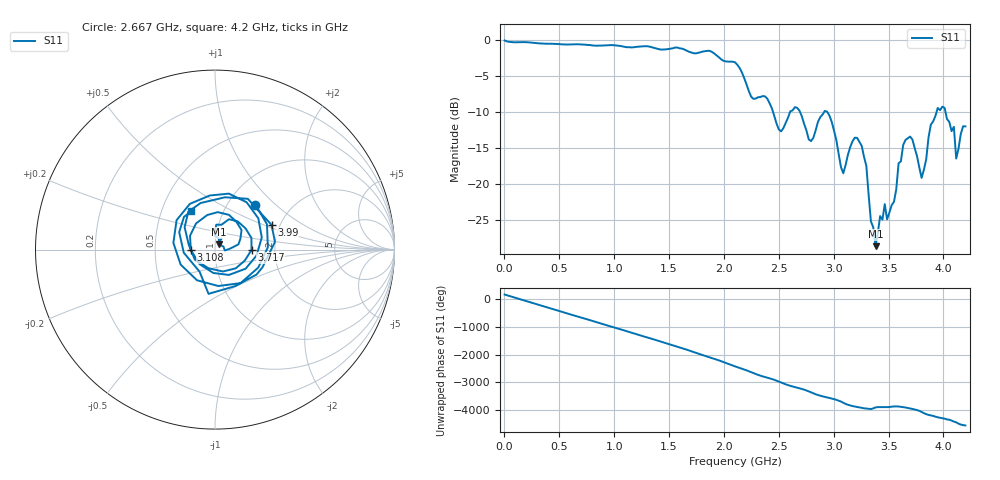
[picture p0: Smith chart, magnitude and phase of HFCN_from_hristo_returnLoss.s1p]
# MHz S MA R 50
!  freq  S11
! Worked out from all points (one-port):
!   201 points, 1 MHz to 4.2 GHz, reference 50 ohm
!   lowest |S11| = -28.7 dB at 3.381 GHz (marker M1), VSWR 1.08, Z = 52.1 + j3.11 ohm
!   |S11| at or under -10 dB: 2.693 GHz to 2.914 GHz (220.9 MHz wide, 7.88 % of centre); 2.941 GHz to 3.938 GHz (996.3 MHz wide, 29 % of centre); 4.019 GHz to end of sweep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
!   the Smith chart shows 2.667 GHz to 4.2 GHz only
!   S11 on the Smith chart (normalised r, x): 2.667 GHz: 1.34, +0.76; 3.108 GHz: 0.76, -0.00; 3.717 GHz: 1.51, -0.01; 3.99 GHz: 1.81, +0.57; 4.2 GHz: 0.71, +0.32
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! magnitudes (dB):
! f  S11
! 1 MHz  -0.1
! 525.9 MHz  -0.6
! 1.051 GHz  -0.8
! 1.576 GHz  -1.1
! 2.1 GHz  -3.1
! 2.52 GHz  -12.7
! 2.625 GHz  -9.8
! 2.667 GHz  -9.4
! 2.793 GHz  -14.1
! 2.94 GHz  -10.0
! 3.066 GHz  -17.7
! 3.108 GHz  -17.4
! 3.15 GHz  -14.9
! 3.255 GHz  -14.7
! 3.297 GHz  -17.5
! 3.381 GHz  -28.7
! 3.465 GHz  -22.8
! 3.486 GHz  -24.9
! 3.549 GHz  -22.5
! 3.591 GHz  -17.1
! 3.675 GHz  -13.7
! 3.717 GHz  -13.8
! 3.801 GHz  -19.2
! 3.885 GHz  -11.8
! 3.99 GHz  -9.3
! 4.095 GHz  -12.1
! 4.116 GHz  -16.5
! 4.2 GHz  -12.0
